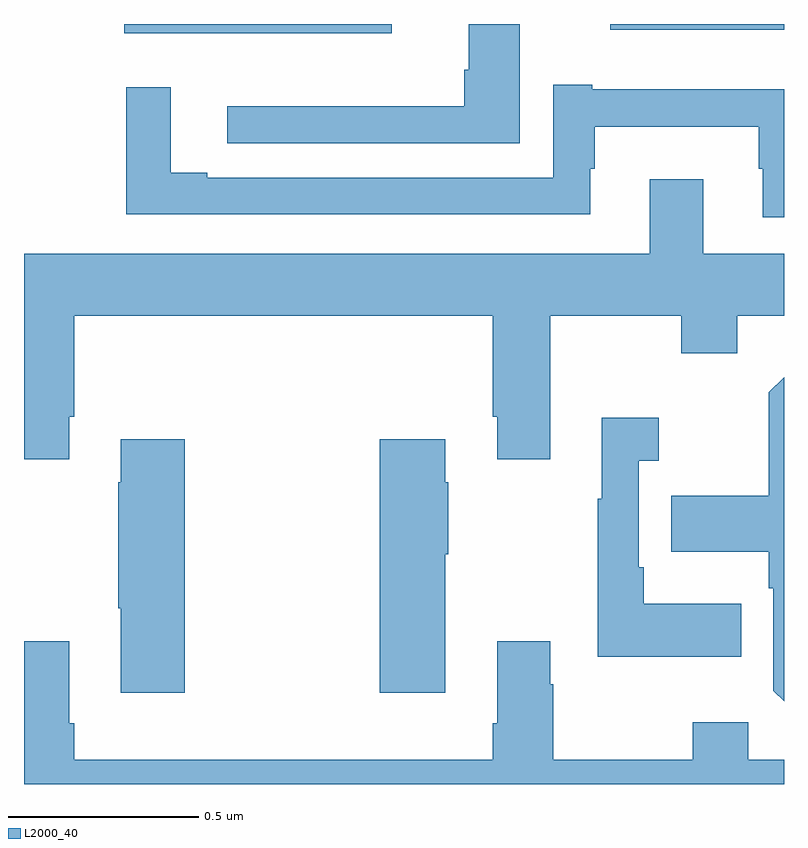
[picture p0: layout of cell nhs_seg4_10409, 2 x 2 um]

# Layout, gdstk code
import gdstk
lib = gdstk.Library(unit=1e-6, precision=1e-09)
def R(c, l, rs):  # rectangles x0, y0, x1, y1
    for r in rs: c.add(gdstk.rectangle(r[:2], r[2:], *l))
def P(c, l, *ps):  # polygons
    for p in ps: c.add(gdstk.Polygon(p, *l))
L2000_40 = (2000, 40)

nhs_seg4_10409 = lib.new_cell('nhs_seg4_10409')
R(nhs_seg4_10409, L2000_40, [(239.264,818.876,239.968,818.9), (240.543,818.885,241,818.9)])
P(nhs_seg4_10409, L2000_40, [(240.304,818.9),(240.17,818.9),(240.17,818.779),(240.158,818.779),(240.158,818.684),(239.535,818.684),(239.535,818.586),(240.304,818.586)],
  [(241,818.728),(240.496,818.728),(240.496,818.74),(240.393,818.74),(240.393,818.496),(239.482,818.496),(239.482,818.509),(239.386,818.509),(239.386,818.734),(239.269,818.734),(239.269,818.4),(240.49,818.4),(240.49,818.519),(240.502,818.519),(240.502,818.63),(240.933,818.63),(240.933,818.519),(240.944,818.519),(240.944,818.391),(241,818.391)],
  [(239.119,817.867),(239.132,817.867),(239.132,818.132),(240.233,818.132),(240.233,817.867),(240.245,817.867),(240.245,817.755),(240.385,817.755),(240.385,818.132),(240.73,818.132),(240.73,818.033),(240.877,818.033),(240.877,818.132),(241,818.132),(241,818.296),(240.787,818.296),(240.787,818.491),(240.647,818.491),(240.647,818.296),(239,818.296),(239,817.755),(239.119,817.755)],
  [(241,817.971),(240.96,817.931),(240.96,817.659),(240.703,817.659),(240.703,817.511),(240.96,817.511),(240.96,817.415),(240.972,817.415),(240.972,817.146),(241,817.118)],
  [(240.887,817.375),(240.631,817.375),(240.631,817.471),(240.618,817.471),(240.618,817.751),(240.67,817.751),(240.67,817.864),(240.521,817.864),(240.521,817.651),(240.51,817.651),(240.51,817.235),(240.887,817.235)],
  [(239.423,817.807),(239.255,817.807),(239.255,817.694),(239.248,817.694),(239.248,817.363),(239.255,817.363),(239.255,817.14),(239.423,817.14)],
  [(240.109,817.505),(240.117,817.505),(240.117,817.694),(240.109,817.694),(240.109,817.807),(239.936,817.807),(239.936,817.14),(240.109,817.14)],
  [(241,816.964),(240.906,816.964),(240.906,817.063),(240.76,817.063),(240.76,816.964),(240.393,816.964),(240.393,817.163),(240.385,817.163),(240.385,817.276),(240.245,817.276),(240.245,817.06),(240.233,817.06),(240.233,816.964),(239.132,816.964),(239.132,817.06),(239.119,817.06),(239.119,817.276),(239,817.276),(239,816.9),(241,816.9)])

lib.write_gds('nhs_seg4_10409.gds')
